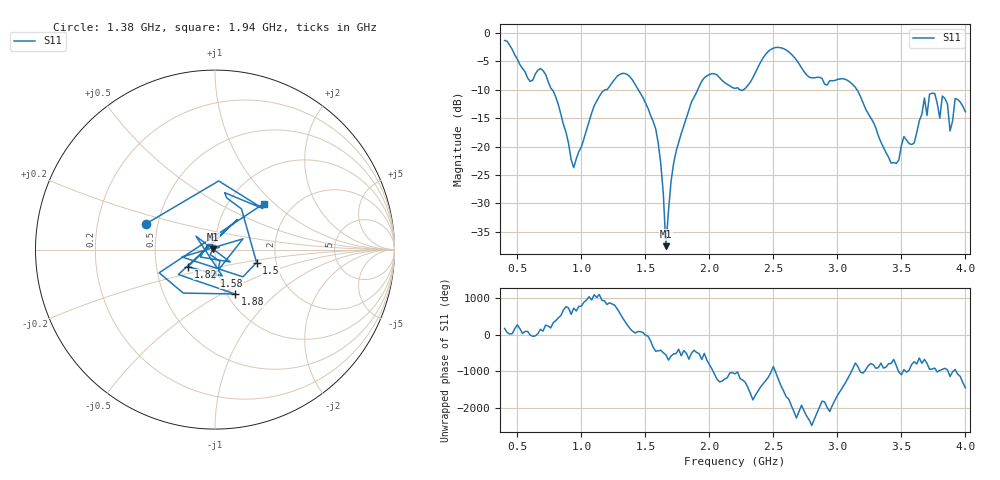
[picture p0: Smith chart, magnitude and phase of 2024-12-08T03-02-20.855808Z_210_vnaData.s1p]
!Created with skrf (http://scikit-rf.org).
# Hz S RI R 50.0
!freq ReS11 ImS11
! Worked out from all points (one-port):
!   181 points, 400 MHz to 4 GHz, reference 50 ohm
!   lowest |S11| = -37.5 dB at 1.66 GHz (marker M1), VSWR 1.03, Z = 48.7 + j0.173 ohm
!   |S11| at or under -10 dB: 771.2 MHz to 1.197 GHz (426 MHz wide, 43.3 % of centre); 1.444 GHz to 1.909 GHz (465 MHz wide, 27.7 % of centre); 3.152 GHz to end of sweep (the widest 3 of 4)
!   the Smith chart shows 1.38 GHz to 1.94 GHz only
!   S11 on the Smith chart (normalised r, x): 1.38 GHz: 0.43, +0.15; 1.5 GHz: 1.58, -0.24; 1.58 GHz: 0.95, -0.28; 1.82 GHz: 0.73, -0.14; 1.88 GHz: 1.09, -0.58; 1.94 GHz: 1.44, +0.86
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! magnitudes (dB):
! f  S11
! 400 MHz  -1.4
! 600 MHz  -8.6
! 720 MHz  -7.3
! 860 MHz  -16.2
! 940 MHz  -23.7
! 1.1 GHz  -12.8
! 1.3 GHz  -7.3
! 1.38 GHz  -7.8
! 1.5 GHz  -12.3
! 1.58 GHz  -16.8
! 1.62 GHz  -23.0
! 1.66 GHz  -37.5
! 1.7 GHz  -26.2
! 1.76 GHz  -19.3
! 1.82 GHz  -15.0
! 1.88 GHz  -11.3
! 1.94 GHz  -8.5
! 2.2 GHz  -9.8
! 2.66 GHz  -4.2
! 3.1 GHz  -8.7
! 3.42 GHz  -22.9
! 3.56 GHz  -19.5
! 3.72 GHz  -10.8
! 3.8 GHz  -15.0
! 3.84 GHz  -11.5
! 3.88 GHz  -17.3
! 3.92 GHz  -11.6
! 4 GHz  -13.9
